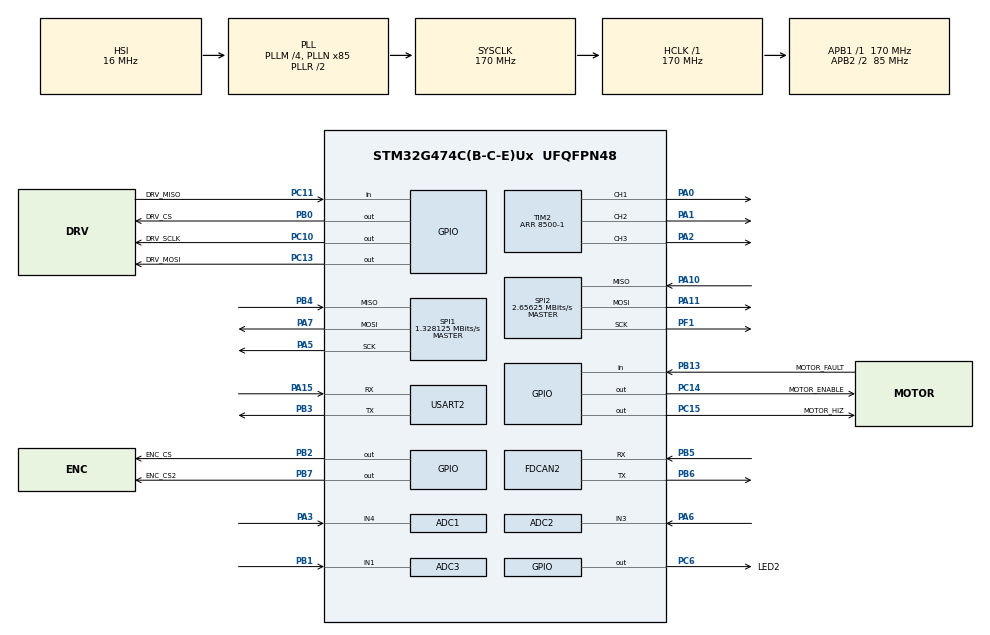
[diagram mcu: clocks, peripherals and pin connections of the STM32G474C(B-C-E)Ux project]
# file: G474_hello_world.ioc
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ADC1.Channel-0\#ChannelRegularConversion=ADC_CHANNEL_4
ADC1.NbrOfConversionFlag=1
ADC1.OffsetNumber-0\#ChannelRegularConversion=ADC_OFFSET_NONE
ADC1.Rank-0\#ChannelRegularConversion=1
ADC1.SamplingTime-0\#ChannelRegularConversion=ADC_SAMPLETIME_2CYCLES_5
ADC1.master=1
ADC2.Channel-0\#ChannelRegularConversion=ADC_CHANNEL_3
ADC2.NbrOfConversionFlag=1
ADC2.OffsetNumber-0\#ChannelRegularConversion=ADC_OFFSET_NONE
ADC2.Rank-0\#ChannelRegularConversion=1
ADC2.SamplingTime-0\#ChannelRegularConversion=ADC_SAMPLETIME_2CYCLES_5
ADC3.Channel-0\#ChannelRegularConversion=ADC_CHANNEL_1
ADC3.NbrOfConversionFlag=1
ADC3.OffsetNumber-0\#ChannelRegularConversion=ADC_OFFSET_NONE
ADC3.Rank-0\#ChannelRegularConversion=1
ADC3.SamplingTime-0\#ChannelRegularConversion=ADC_SAMPLETIME_2CYCLES_5
ADC3.master=1
FDCAN2.CalculateBaudRateNominal=3541666
FDCAN2.CalculateTimeBitNominal=282
FDCAN2.CalculateTimeQuantumNominal=94.11764705882354
Mcu.Family=STM32G4
Mcu.Name=STM32G474C(B-C-E)Ux
Mcu.Package=UFQFPN48
NVIC.PriorityGroup=NVIC_PRIORITYGROUP_4
NVIC.TIM2_IRQn=true\:0\:0\:false\:false\:true\:true\:true\:true
PA0.Signal=S_TIM2_CH1
PA1.Signal=S_TIM2_CH2
PA10.Mode=Full_Duplex_Master
PA10.Signal=SPI2_MISO
PA11.Mode=Full_Duplex_Master
PA11.Signal=SPI2_MOSI
PA13.Mode=Serial_Wire
PA13.Signal=SYS_JTMS-SWDIO
PA14.Mode=Serial_Wire
PA14.Signal=SYS_JTCK-SWCLK
PA15.Mode=Asynchronous
PA15.Signal=USART2_RX
PA2.Signal=S_TIM2_CH3
PA3.Mode=IN4-Single-Ended
PA3.Signal=ADC1_IN4
PA5.Mode=Full_Duplex_Master
PA5.Signal=SPI1_SCK
PA6.Mode=IN3-Single-Ended
PA6.Signal=ADC2_IN3
PA7.Mode=Full_Duplex_Master
PA7.Signal=SPI1_MOSI
PB0.GPIO_Label=DRV_CS
PB0.Signal=GPIO_Output
PB1.Mode=IN1-Single-Ended
PB1.Signal=ADC3_IN1
PB13.GPIO_Label=MOTOR_FAULT
PB13.Signal=GPIO_Input
PB2.GPIO_Label=ENC_CS
PB2.Signal=GPIO_Output
PB3.Mode=Asynchronous
PB3.Signal=USART2_TX
PB4.Mode=Full_Duplex_Master
PB4.Signal=SPI1_MISO
PB5.Mode=FDCAN_Activate
PB5.Signal=FDCAN2_RX
PB6.Mode=FDCAN_Activate
PB6.Signal=FDCAN2_TX
PB7.GPIO_Label=ENC_CS2
PB7.Signal=GPIO_Output
PC10.GPIO_Label=DRV_SCLK
PC10.Signal=GPIO_Output
PC11.GPIO_Label=DRV_MISO
PC11.Signal=GPIO_Input
PC13.GPIO_Label=DRV_MOSI
PC13.Signal=GPIO_Output
PC14-OSC32_IN.GPIO_Label=MOTOR_ENABLE
PC14-OSC32_IN.Signal=GPIO_Output
PC15-OSC32_OUT.GPIO_Label=MOTOR_HIZ
PC15-OSC32_OUT.Signal=GPIO_Output
PC6.GPIO_Label=LED2
PC6.Signal=GPIO_Output
PF1-OSC_OUT.Mode=Full_Duplex_Master
PF1-OSC_OUT.Signal=SPI2_SCK
ProjectManager.HeapSize=0x200
ProjectManager.StackSize=0x400
ProjectManager.TargetToolchain=STM32CubeIDE
RCC.ADC12Freq_Value=170000000
RCC.ADC345Freq_Value=170000000
RCC.AHBFreq_Value=170000000
RCC.APB1Freq_Value=170000000
RCC.APB1TimFreq_Value=170000000
RCC.APB2CLKDivider=RCC_HCLK_DIV2
RCC.APB2Freq_Value=85000000
RCC.APB2TimFreq_Value=170000000
RCC.CortexFreq_Value=170000000
RCC.EXTERNAL_CLOCK_VALUE=12288000
RCC.HCLKFreq_Value=170000000
RCC.HSE_VALUE=8000000
RCC.HSI48_VALUE=48000000
RCC.HSI_VALUE=16000000
RCC.LSE_VALUE=32768
RCC.PLLM=RCC_PLLM_DIV4
RCC.PLLN=85
RCC.SYSCLKFreq_VALUE=170000000
RCC.SYSCLKSource=RCC_SYSCLKSOURCE_PLLCLK
RCC.USBFreq_Value=170000000
RCC.VCOOutputFreq_Value=340000000
SH.S_TIM2_CH1.0=TIM2_CH1,PWM Generation1 CH1
SH.S_TIM2_CH2.0=TIM2_CH2,PWM Generation2 CH2
SH.S_TIM2_CH3.0=TIM2_CH3,PWM Generation3 CH3
SPI1.BaudRatePrescaler=SPI_BAUDRATEPRESCALER_64
SPI1.CalculateBaudRate=1.328125 MBits/s
SPI1.DataSize=SPI_DATASIZE_16BIT
SPI1.Direction=SPI_DIRECTION_2LINES
SPI1.Mode=SPI_MODE_MASTER
SPI1.NSSPMode=SPI_NSS_PULSE_DISABLE
SPI1.VirtualType=VM_MASTER
SPI2.BaudRatePrescaler=SPI_BAUDRATEPRESCALER_64
SPI2.CalculateBaudRate=2.65625 MBits/s
SPI2.DataSize=SPI_DATASIZE_16BIT
SPI2.Direction=SPI_DIRECTION_2LINES
SPI2.Mode=SPI_MODE_MASTER
SPI2.VirtualType=VM_MASTER
TIM2.AutoReloadPreload=TIM_AUTORELOAD_PRELOAD_ENABLE
TIM2.Channel-PWM\ Generation1\ CH1=TIM_CHANNEL_1
TIM2.Channel-PWM\ Generation2\ CH2=TIM_CHANNEL_2
TIM2.Channel-PWM\ Generation3\ CH3=TIM_CHANNEL_3
TIM2.CounterMode=TIM_COUNTERMODE_CENTERALIGNED1
TIM2.PeriodNoDither=8500-1
USART2.VirtualMode-Asynchronous=VM_ASYNC
VP_SYS_VS_DBSignals.Mode=DisableDeadBatterySignals
VP_TIM2_VS_ClockSourceINT.Mode=Internal
board=custom

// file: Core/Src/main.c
/* USER CODE BEGIN Header */
/**
  ******************************************************************************
  * @file           : main.c
  * @brief          : Main program body
  ******************************************************************************
  * @attention
  *
  * Copyright (c) 2025 STMicroelectronics.
  * All rights reserved.
  *
  * This software is licensed under terms that can be found in the LICENSE file
  * in the root directory of this software component.
  * If no LICENSE file comes with this software, it is provided AS-IS.
  *
  ******************************************************************************
  */
/* USER CODE END Header */
#include "main.h"
#include "adc.h"
#include "fdcan.h"
#include "spi.h"
#include "tim.h"
#include "usart.h"
#include "gpio.h"

/* USER CODE BEGIN Includes */
#include "stdio.h"
#include "hw_config.h"
#include "drv8353.h"
#include "pwm_util.h"
#include "foc.h"
#include "math_ops.h"
#include "flash_util.h"
#include "position_sensor.h"
/* USER CODE END Includes */

/* USER CODE BEGIN PD */
uint16_t spi_tx_word = 0x0000;
/* USER CODE END PD */

/* USER CODE BEGIN PV */

uint8_t sine_index = 0;          // Index for sine table lookup
const uint8_t STEP_SIZE = 1;     // Controls speed of rotation (1-8 recommended)
const float AMPLITUDE = 0.5f;    // PWM amplitude (0.0 to 1.0)

ControllerStruct controller;

EncoderStruct comm_encoder;
/* USER CODE END PV */

void SystemClock_Config(void);

/* USER CODE BEGIN 0 */
//int __io_putchar(int ch) {
//HAL_UART_Transmit(&huart2, (uint8_t)&ch, 1, 0xffff);
//return 0;
//}

//int __io_putchar(int ch)
//{
//    HAL_UART_Transmit(&huart2, (uint8_t *)&ch, 1, HAL_MAX_DELAY);
//    return ch;
//}

/* setPwmFreqency moved to Core/Src/pwm_util.c */

/* USER CODE END 0 */

int main(void)
{

  /* USER CODE BEGIN 1 */
    BitbangSPI spi;
    BitbangSPI_Options opts = {
        .mosi_port = DRV_MOSI_GPIO_Port,
        .mosi_pin  = DRV_MOSI_Pin,
        .miso_port = DRV_MISO_GPIO_Port,
        .miso_pin  = DRV_MISO_Pin,
        .sck_port  = DRV_SCLK_GPIO_Port,
        .sck_pin   = DRV_SCLK_Pin,
        .cs_port   = DRV_CS_GPIO_Port,
        .cs_pin    = DRV_CS_Pin,
        .frequency = 1000000,
        .width     = 16,
        .mode      = 1
    };

  /* USER CODE END 1 */

  /* MCU Configuration--------------------------------------------------------*/

  /* Reset of all peripherals, Initializes the Flash interface and the Systick. */
  HAL_Init();

  /* Configure the system clock */
  SystemClock_Config();

  /* Initialize all configured peripherals */
  MX_GPIO_Init();
  MX_USART2_UART_Init();
  MX_SPI1_Init();
  MX_FDCAN2_Init();
  MX_TIM2_Init();
  MX_ADC1_Init();
  MX_ADC2_Init();
  MX_ADC3_Init();
  MX_SPI2_Init();
  /* USER CODE BEGIN 2 */
  HAL_GPIO_WritePin(ENC_CS_GPIO_Port, ENC_CS_Pin, GPIO_PIN_SET);
  uint16_t angle = 0;

  HAL_GPIO_WritePin(LED2_GPIO_Port, LED2_Pin, GPIO_PIN_RESET);

  // Enable DRV ship for motor and start writing config
  HAL_GPIO_WritePin(MOTOR_ENABLE_GPIO_Port, MOTOR_ENABLE_Pin, GPIO_PIN_SET);
  HAL_GPIO_WritePin(MOTOR_HIZ_GPIO_Port, MOTOR_HIZ_Pin, GPIO_PIN_SET);
  // we need some delay after we setup the eable pin, otherwise the DRV chip won't be ready
  HAL_Delay(50);
  BitbangSPI_Init(&spi, &opts);
  write_config_registers(&spi);
  read_config_registers(&spi);
  HAL_Delay(50);

  // read pin state test
  GPIO_PinState pin_state = HAL_GPIO_ReadPin(MOTOR_FAULT_GPIO_Port, MOTOR_FAULT_Pin);
  printf("Motor Fault Pin State: %d\n", pin_state);

  HAL_TIM_PWM_Start(&htim2, TIM_CHANNEL_1);
  HAL_TIM_PWM_Start(&htim2, TIM_CHANNEL_2);
  HAL_TIM_PWM_Start(&htim2, TIM_CHANNEL_3);

  HAL_Delay(50);

  HAL_TIM_Base_Start_IT(&htim2);

  /* Flash Writer Example (optional - comment out if not needed) */

  FlashStatus_t flash_status;
  uint8_t test_data[8] = {0x11, 0x22, 0x33, 0x44, 0x55, 0x66, 0x77, 0x88};
  uint8_t read_buffer[8] = {0};

  // Erase first page of Bank 2 (safe - Bank 1 contains your code)
  printf("Erasing flash page 0 of Bank 2...\n\r");
  flash_status = Flash_ErasePage(Flash_GetPageAddressBank2(0), 1);
  printf("Erase result: %d\n\r", flash_status);

  // Write test data to Bank 2
  printf("Writing test data to Bank 2 page 0...\n\r");
  flash_status = Flash_WriteBuffer(Flash_GetPageAddressBank2(0), test_data, 8);
  printf("Write result: %d\n\r", flash_status);

  // Read back and verify
  printf("Reading back from Bank 2...\n\r");
  flash_status = Flash_ReadBuffer(Flash_GetPageAddressBank2(0), read_buffer, 8);
  printf("Read result: %d\n\r", flash_status);

  flash_status = Flash_Verify(Flash_GetPageAddressBank2(0), test_data, 8);
  printf("Verify result: %d\n\r", flash_status);

  // disable linearization
  memset(&comm_encoder.offset_lut, 0, sizeof(comm_encoder.offset_lut));

  // receive message from user via putty, will be a number between 0-5

//  __HAL_TIM_SET_COMPARE(&htim2, TIM_CHANNEL_1, htim2.Init.Period);
//  __HAL_TIM_SET_COMPARE(&htim2, TIM_CHANNEL_2, htim2.Init.Period);
//  __HAL_TIM_SET_COMPARE(&htim2, TIM_CHANNEL_3, htim2.Init.Period);

  /* USER CODE END 2 */

  /* Infinite loop */
  /* USER CODE BEGIN WHILE */
  // while (1) {
	//   uint8_t buf[1];
	//   if (HAL_UART_Receive(&huart2, buf, 1, 1000)==HAL_OK){
	// 	  // print out
	// 	  printf("Received via UART: %c\n\r", buf[0]);

  //     // music
  //     if ((char)buf[0]=='c') {
  //       setPwmFreqency(261.625);
  //     }
  //     if ((char)buf[0]=='d') {
  //       setPwmFreqency(293.6648);
  //     }
  //     if ((char)buf[0]=='e') {
  //       setPwmFreqency(329.6276);
  //     }
  //     if ((char)buf[0]=='f') {
  //       setPwmFreqency(349.2282);
  //     }
  //     if ((char)buf[0]=='g') {
  //       setPwmFreqency(391.9954);
  //     }
  //     if ((char)buf[0]=='a') {
  //       setPwmFreqency(440.0);
  //     }
  //     if ((char)buf[0]=='b') {
  //       setPwmFreqency(493.8833);
  //     }

  //     // phases
	// 	  if ((1 == 1) || buf[0]==97){
	// 	      __HAL_TIM_SET_COMPARE(&htim2, TIM_CHANNEL_1, htim2.Init.Period/64);
	// 	      __HAL_TIM_SET_COMPARE(&htim2, TIM_CHANNEL_2, 0);
	// 	      __HAL_TIM_SET_COMPARE(&htim2, TIM_CHANNEL_3, 0);
	// 	      printf("setting a\n\r");
	// 	  }  else if (buf[0] == 98) {
	// 	      __HAL_TIM_SET_COMPARE(&htim2, TIM_CHANNEL_1, 0);
	// 	      __HAL_TIM_SET_COMPARE(&htim2, TIM_CHANNEL_2, htim2.Init.Period/64);
	// 	      __HAL_TIM_SET_COMPARE(&htim2, TIM_CHANNEL_3, 0);
	// 	      printf("setting b\n\r");
	// 	  } else if (buf[0] == 99){
	// 	      __HAL_TIM_SET_COMPARE(&htim2, TIM_CHANNEL_1, 0);
	// 	      __HAL_TIM_SET_COMPARE(&htim2, TIM_CHANNEL_2, 0);
	// 	      __HAL_TIM_SET_COMPARE(&htim2, TIM_CHANNEL_3, htim2.Init.Period/64);
	// 	      printf("setting c\n\r");
	// 	  }

	//   } else {
	// 	  printf("no data \n\r");
	//   }
	//   HAL_Delay(1);
  //     pin_state = HAL_GPIO_ReadPin(MOTOR_FAULT_GPIO_Port, MOTOR_FAULT_Pin);
  //     if(pin_state == GPIO_PIN_RESET) {
  //         printf("Motor Fault Detected!\n\r");
  //         uint16_t fault0 = drv_read_register(&spi, FSR1);
  //         uint16_t fault1 = drv_read_register(&spi, FSR2);
  //         printf("FSR1: %u, FSR2: %u\n", (unsigned int)fault0, (unsigned int)fault1);

  //     }
  // }

  while (1)
  {
    // increment angle for open loop control based on time, do it slowly 360 degree per seconds
    // check elapsed time
//	ps_sample(&comm_encoder, DT);
    float mechanicalRotationsPerSecond = 1.0f;
    float torqueMaginitude = 1.0f;
    float polePairs = 7.0f;
    float electricRotationsPerSecond = polePairs * mechanicalRotationsPerSecond;
    float electricRottationsPerMiliSecond = electricRotationsPerSecond / 1000.0f;
    uint32_t t = HAL_GetTick();

    float theta = t * electricRottationsPerMiliSecond * 6.28f;

    float x = cos_lut(theta)*torqueMaginitude;
    float y = sin_lut(theta)*torqueMaginitude;
    openLoopControl(x, y);

    playNote();

    // controller.dtc_u = 0.1f;
    // controller.dtc_v = 0.0f;
    // controller.dtc_w = 0.0f;
    // setDutyCycle(&controller);
      // Get sine values for each phase (120 degrees apart)
      // uint8_t phase_a = sine_table[sine_index];
      // uint8_t phase_b = sine_table[(sine_index + 85) & 0xFF];  // +85 is about 120 degrees
      // uint8_t phase_c = sine_table[(sine_index + 170) & 0xFF]; // +170 is about 240 degrees

      // Convert 0-255 sine values to PWM duty cycle
      uint32_t period = htim2.Init.Period;
      // uint32_t ccr1 = (uint32_t)((float)phase_a / 255.0f * period * AMPLITUDE + (period / 2));
      // uint32_t ccr2 = (uint32_t)((float)phase_b / 255.0f * period * AMPLITUDE + (period / 2));
      // uint32_t ccr3 = (uint32_t)((float)phase_c / 255.0f * period * AMPLITUDE + (period / 2));

      // Update PWM duty cycles

      // Increment angle for rotation
      sine_index = (sine_index + STEP_SIZE) & 0xFF;

      angle = readMagAlphaAngle2();

      float angle_deg = (angle * 360.0f) / ENC_CPR;
      printf("raw = %u, angle = %u deg\r\n", angle, (uint16_t) angle_deg);
      // Small delay to control speed
      HAL_Delay(500);

      pin_state = HAL_GPIO_ReadPin(MOTOR_FAULT_GPIO_Port, MOTOR_FAULT_Pin);
      if(pin_state == GPIO_PIN_RESET) {
          printf("Motor Fault Detected!\n\r");
          uint16_t fault0 = drv_read_register(&spi, FSR1);
          uint16_t fault1 = drv_read_register(&spi, FSR2);
          printf("FSR1: %u, FSR2: %u\n", (unsigned int)fault0, (unsigned int)fault1);

      }
    /* USER CODE END WHILE */

  }
}

void SystemClock_Config(void)
{
  RCC_OscInitTypeDef RCC_OscInitStruct = {0};
  RCC_ClkInitTypeDef RCC_ClkInitStruct = {0};

  /** Configure the main internal regulator output voltage
  */
  HAL_PWREx_ControlVoltageScaling(PWR_REGULATOR_VOLTAGE_SCALE1_BOOST);

  /** Initializes the RCC Oscillators according to the specified parameters
  * in the RCC_OscInitTypeDef structure.
  */
  RCC_OscInitStruct.OscillatorType = RCC_OSCILLATORTYPE_HSI;
  RCC_OscInitStruct.HSIState = RCC_HSI_ON;
  RCC_OscInitStruct.HSICalibrationValue = RCC_HSICALIBRATION_DEFAULT;
  RCC_OscInitStruct.PLL.PLLState = RCC_PLL_ON;
  RCC_OscInitStruct.PLL.PLLSource = RCC_PLLSOURCE_HSI;
  RCC_OscInitStruct.PLL.PLLM = RCC_PLLM_DIV4;
  RCC_OscInitStruct.PLL.PLLN = 85;
  RCC_OscInitStruct.PLL.PLLP = RCC_PLLP_DIV2;
  RCC_OscInitStruct.PLL.PLLQ = RCC_PLLQ_DIV2;
  RCC_OscInitStruct.PLL.PLLR = RCC_PLLR_DIV2;
  if (HAL_RCC_OscConfig(&RCC_OscInitStruct) != HAL_OK)
  {
    Error_Handler();
  }

  /** Initializes the CPU, AHB and APB buses clocks
  */
  RCC_ClkInitStruct.ClockType = RCC_CLOCKTYPE_HCLK|RCC_CLOCKTYPE_SYSCLK
                              |RCC_CLOCKTYPE_PCLK1|RCC_CLOCKTYPE_PCLK2;
  RCC_ClkInitStruct.SYSCLKSource = RCC_SYSCLKSOURCE_PLLCLK;
  RCC_ClkInitStruct.AHBCLKDivider = RCC_SYSCLK_DIV1;
  RCC_ClkInitStruct.APB1CLKDivider = RCC_HCLK_DIV1;
  RCC_ClkInitStruct.APB2CLKDivider = RCC_HCLK_DIV2;

  if (HAL_RCC_ClockConfig(&RCC_ClkInitStruct, FLASH_LATENCY_4) != HAL_OK)
  {
    Error_Handler();
  }
}

void Error_Handler(void)
{
  __disable_irq();
  while (1)
  {
  }
}
